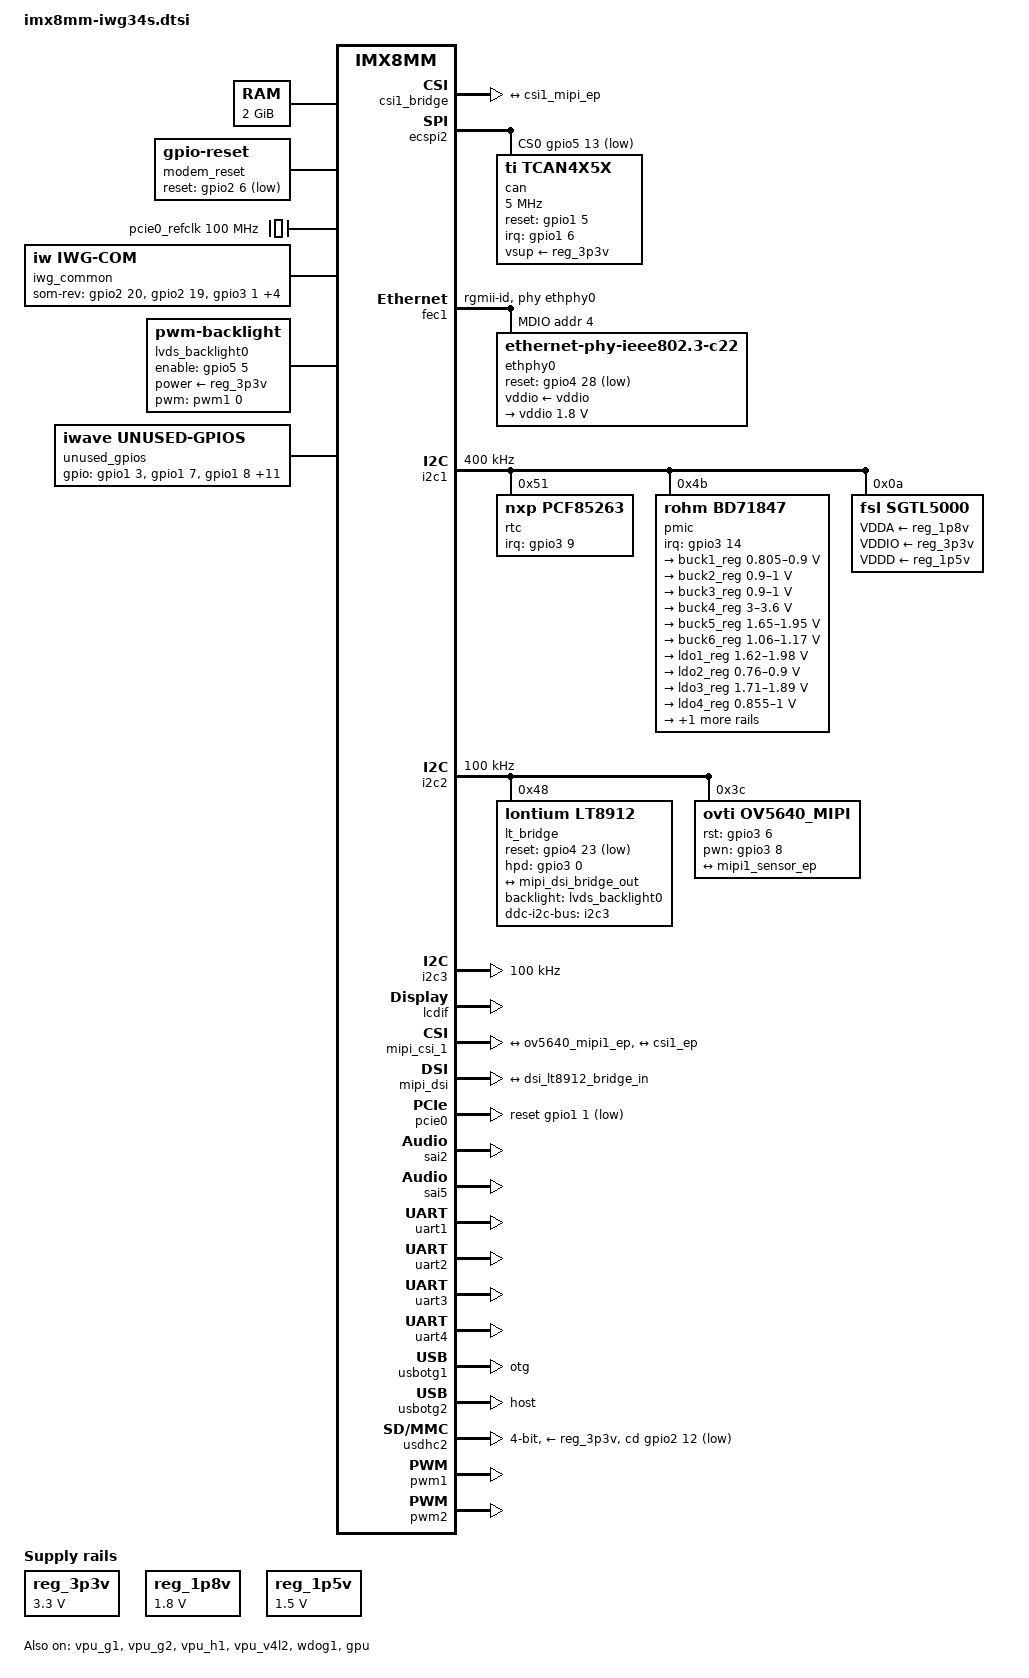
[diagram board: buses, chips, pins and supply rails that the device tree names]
/*
 * Copyright (c) 2022-23 iWave Systems Technologies Pvt. Ltd.
 *
 * This program is free software; you can redistribute it and/or
 * modify it under the terms of the GNU General Public License
 * as published by the Free Software Foundation; either version 2
 * of the License, or (at your option) any later version.
 *
 * This program is distributed in the hope that it will be useful,
 * but WITHOUT ANY WARRANTY; without even the implied warranty of
 * MERCHANTABILITY or FITNESS FOR A PARTICULAR PURPOSE.  See the
 * GNU General Public License for more details.
 */

/dts-v1/;

#include <dt-bindings/usb/pd.h>
#include "imx8mm.dtsi"

/ {
	chosen {
		stdout-path = &uart4;
	};

	memory@40000000 { /* RAM: 2GB Memory support */
		device_type = "memory";
		reg = <0x0 0x40000000 0 0x80000000>;
	};

	modem_reset: modem-reset { /* BT: BT reset */
		compatible = "gpio-reset";
		reset-gpios = <&gpio2 6 GPIO_ACTIVE_LOW>;
		reset-delay-us = <2000>;
		reset-post-delay-ms = <40>;
		#reset-cells = <0>;
	};

	clocks {
		#address-cells = <1>;
		#size-cells = <0>;

		pcie0_refclk: pcie0-refclk {
			compatible = "fixed-clock";
			#clock-cells = <0>;
			clock-frequency = <100000000>;
		};

		hclk: hclock {
			compatible = "fixed-clock";
			#clock-cells = <0>;
			clock-frequency = <40000000>;
			clock-output-names = "hclk";
		};

		cclk: cclock {
			compatible = "fixed-clock";
			#clock-cells = <0>;
			clock-frequency = <40000000>;
			clock-output-names = "cclk";
		};
	};

	sound-hdmi { /* SAI2: HDMI Audio: Audio Codec support */
		compatible = "fsl,hdmi-audio-lt8912";
		model = "hdmi-audio";
		cpu-dai = <&sai2>;
		status = "okay";
	};

	sound { /* SAI5: SGTL5000: Audio Codec support */
		compatible = "simple-audio-card";
		simple-audio-card,name = "sgtl5000";
		simple-audio-card,format = "i2s";
		simple-audio-card,frame-master = <&codecdai>;
		simple-audio-card,bitclock-master = <&codecdai>;
		simple-audio-card,widgets =
			"Microphone", "Microphone Jack",
			"Headphone", "Headphone Jack",
			"Speaker", "Speaker Ext",
			"Line", "Line In Jack";
		simple-audio-card,routing =
			"MIC_IN", "Microphone Jack",
			"Microphone Jack", "Mic Bias",
			"LINE_IN", "Line In Jack",
			"Headphone Jack", "HP_OUT",
			"Speaker Ext", "LINE_OUT";

		simple-audio-card,cpu {
			sound-dai = <&sai5>;
		};

		codecdai: simple-audio-card,codec {
			sound-dai = <&sgtl5000>;
			clocks = <&clk IMX8MM_CLK_SAI5_ROOT>;
		};
	};

	iwg_common { /* SoC Board Setttings : Board Configuration GPIOs */
		compatible = "iw,iwg-com";
		pinctrl-names = "default";
		pcb_rev = <0>;
		bom_rev = <0>;
		carrier_bom = <0>;
		carrier_pcb = <0>;
		pinctrl-0 = <&pinctrl_board_cfg>;
		som-rev-gpios = <&gpio2 20 0 &gpio2 19 0 &gpio3 1 0 &gpio1 0 0 
			       &gpio1 10 0 &gpio1 11 0 &gpio1 9 0 >;
		status = "okay";
	};

	regulators {
		compatible = "simple-bus";
		#address-cells = <1>;
		#size-cells = <0>;

		reg_3p3v: 3p3v { /* Fixed Regulator: common 3.3V Fixed regulator */
			compatible = "regulator-fixed";
			regulator-name = "3P3V";
			regulator-min-microvolt = <3300000>;
			regulator-max-microvolt = <3300000>;
			regulator-always-on;
		};

		reg_1p8v: 1p8v { /* Fixed Regulator: common 1.8V Fixed regulator */
			compatible = "regulator-fixed";
			regulator-name = "1P8V";
			regulator-min-microvolt = <1800000>;
			regulator-max-microvolt = <1800000>;
			regulator-always-on;
		};

		reg_1p5v: 1p5v { /* Fixed Regulator: common 1.5V Fixed regulator */
			compatible = "regulator-fixed";
			regulator-name = "1P5V";
			regulator-min-microvolt = <1500000>;
			regulator-max-microvolt = <1500000>;
			regulator-always-on;
		};
	};

	lvds_backlight0: lvds_backlight { /* LVDS: LVDS Backlight */
		compatible = "pwm-backlight";
		pwms = <&pwm1 0 1000000>;
		power-supply = <&reg_3p3v>;
		pinctrl-names = "default";
		pinctrl-0 = <&pinctrl_pwr>;
		enable-gpios = <&gpio5 5 GPIO_ACTIVE_HIGH>;
		status = "okay";

		brightness-levels = < 0  1  2  3  4  5  6  7  8  9
				     10 11 12 13 14 15 16 17 18 19
				     20 21 22 23 24 25 26 27 28 29
				     30 31 32 33 34 35 36 37 38 39
				     40 41 42 43 44 45 46 47 48 49
				     50 51 52 53 54 55 56 57 58 59
				     60 61 62 63 64 65 66 67 68 69
				     70 71 72 73 74 75 76 77 78 79
				     80 81 82 83 84 85 86 87 88 89
				     90 91 92 93 94 95 96 97 98 99
				    100>;
		default-brightness-level = <100>;
	};

	unused_gpios: unused_gpios { /* GPIO: Setting Unused GPIOs as input pins */
		compatible = "iwave,unused-gpios";
		pinctrl-names = "default";
		pinctrl-0 = <&pinctrl_unused_gpio>;
		status = "okay";
	};
};

&A53_0 {
	cpu-supply = <&buck2_reg>;
};

&A53_1 {
	cpu-supply = <&buck2_reg>;
};

&A53_2 {
	cpu-supply = <&buck2_reg>;
};

&A53_3 {
	cpu-supply = <&buck2_reg>;
};

&csi1_bridge {
	fsl,mipi-mode;
	status = "okay";
	port {
		csi1_ep: endpoint {
			remote-endpoint = <&csi1_mipi_ep>;
		};
	};
};

&ecspi2 { /* ECSPI2 */
	#address-cells = <1>;
	#size-cells = <0>;
	fsl,spi-num-chipselects = <1>;
	pinctrl-names = "default";
	pinctrl-0 = <&pinctrl_ecspi2 &pinctrl_ecspi2_cs>;
	cs-gpios = <&gpio5 13 GPIO_ACTIVE_LOW>;
	status = "okay";

	can: can@0 {
		compatible = "ti,tcan4x5x";
		reg = <0>;
		pinctrl-names = "default";
		pinctrl-0 = <&pinctrl_can>;
		interrupt-parent = <&gpio1>;
		interrupts = <6 IRQ_TYPE_LEVEL_LOW>;
		clocks = <&hclk>, <&cclk>;
		clock-names = "hclk", "cclk";
		#address-cells = <1>;
		#size-cells = <1>;
		spi-max-frequency = <5000000>;
		bosch,mram-cfg = <0x0 0 0 32 0 0 1 1>;
		reset-gpios = <&gpio1 5 GPIO_ACTIVE_HIGH>;
		vsup-supply = <&reg_3p3v>;
	};
};

&fec1 {
	pinctrl-names = "default";
	pinctrl-0 = <&pinctrl_fec1>;
	phy-mode = "rgmii-id";
	phy-handle = <&ethphy0>;
	fsl,magic-packet;
	status = "okay";

	mdio {
		#address-cells = <1>;
		#size-cells = <0>;

		ethphy0: ethernet-phy@4 {
			compatible = "ethernet-phy-ieee802.3-c22";
			reg = <4>;
			reset-gpios = <&gpio4 28 GPIO_ACTIVE_LOW>;
                        qca,disable-smarteee;
                        vddio-supply = <&vddio>;

                        vddio: vddio-regulator {
                                regulator-min-microvolt = <1800000>;
                                regulator-max-microvolt = <1800000>;
                        };
		};
	};
};

&i2c1 { /* I2C1 Bus */
	clock-frequency = <400000>;
	pinctrl-names = "default";
	pinctrl-0 = <&pinctrl_i2c1>;
	status = "okay";

	rtc: rtc@51 { /* RTC: PCF85263 RTC */
		compatible = "nxp,pcf85263";
		pinctrl-names = "default";
		pinctrl-0 = <&pinctrl_rtc>;
		reg = <0x51>;
		interrupt-parent = <&gpio3>;
		interrupts = <9 IRQ_TYPE_LEVEL_LOW>;
		status = "okay";
	};

	pmic: bd71847@4b { /* PMIC: PMIC BD71847MWV */
		compatible = "rohm,bd71847";
		reg = <0x4b>;
		pinctrl-names = "default";
		pinctrl-0 = <&pinctrl_pmic>;
		interrupt-parent = <&gpio3>;
		interrupts = <14 GPIO_ACTIVE_LOW>;
		rohm,reset-snvs-powered;

		#clock-cells = <0>;
		clocks = <&osc_32k 0>;
		clock-output-names = "clk-32k-out";
		status = "okay";
		
		regulators {
			buck1_reg: BUCK1 {
				regulator-name = "BUCK1";
				regulator-min-microvolt = <805000>;
				regulator-max-microvolt = <900000>;
				regulator-boot-on;
				regulator-always-on;
				regulator-ramp-delay = <1250>;
				rohm,dvs-run-voltage = <850000>;
				rohm,dvs-idle-voltage = <850000>;
			};

			buck2_reg: BUCK2 {
				regulator-name = "BUCK2";
				regulator-min-microvolt = <900000>;
				regulator-max-microvolt = <1000000>;
				regulator-boot-on;
				regulator-always-on;
				regulator-ramp-delay = <1250>;
				rohm,dvs-run-voltage = <950000>;
				rohm,dvs-idle-voltage = <950000>;
			};

			buck3_reg: BUCK3 {
				regulator-name = "BUCK3";
				regulator-min-microvolt = <900000>;
				regulator-max-microvolt = <1000000>;
				regulator-boot-on;
				regulator-always-on;
			};

			buck4_reg: BUCK4 {
				regulator-name = "BUCK4";
				regulator-min-microvolt = <3000000>;
				regulator-max-microvolt = <3600000>;
				regulator-boot-on;
				regulator-always-on;
			};

			buck5_reg: BUCK5 {
				regulator-name = "BUCK5";
				regulator-min-microvolt = <1650000>;
				regulator-max-microvolt = <1950000>;
				regulator-boot-on;
				regulator-always-on;
			};

			buck6_reg: BUCK6 {
				regulator-name = "BUCK6";
				regulator-min-microvolt = <1060000>;
				regulator-max-microvolt = <1170000>;
				regulator-boot-on;
				regulator-always-on;
			};

			ldo1_reg: LDO1 {
				regulator-name = "LDO1";
				regulator-min-microvolt = <1620000>;
				regulator-max-microvolt = <1980000>;
				regulator-boot-on;
				regulator-always-on;
			};

			ldo2_reg: LDO2 {
				regulator-name = "LDO2";
				regulator-min-microvolt = <760000>;
				regulator-max-microvolt = <900000>;
				regulator-boot-on;
				regulator-always-on;
			};

			ldo3_reg: LDO3 {
				regulator-name = "LDO3";
				regulator-min-microvolt = <1710000>;
				regulator-max-microvolt = <1890000>;
				regulator-boot-on;
				regulator-always-on;
			};

			ldo4_reg: LDO4 {
				regulator-name = "LDO4";
				regulator-min-microvolt = <855000>;
				regulator-max-microvolt = <1000000>;
				regulator-boot-on;
				regulator-always-on;
			};

			ldo6_reg: LDO6 {
				regulator-name = "LDO6";
				regulator-min-microvolt = <1140000>;
				regulator-max-microvolt = <1260000>;
				regulator-boot-on;
				regulator-always-on;
			};
		};
	};

	sgtl5000: sgtl5000@a { /* Audio: SGTL5000 Audio Codec */
		compatible = "fsl,sgtl5000";
		reg = <0x0a>;
		#sound-dai-cells = <0>;
		clocks = <&clk IMX8MM_CLK_SAI5_ROOT>;
		assigned-clocks = <&clk IMX8MM_CLK_SAI5>;
		assigned-clock-parents = <&clk IMX8MM_AUDIO_PLL1_OUT>;
		assigned-clock-rates = <24576000>;
		VDDA-supply = <&reg_1p8v>;
		VDDIO-supply = <&reg_3p3v>;
		VDDD-supply = <&reg_1p5v>;
		status = "okay";
	};
};

&i2c2 { /* I2C2 Bus */
	clock-frequency = <100000>; /* Since Display bridge is connected in this i2c bus, it's max i2c speed is 100KHz */
	pinctrl-names = "default";
	pinctrl-0 = <&pinctrl_i2c2>;
	status = "okay";

	lt_bridge: lt8912@48 { /* LT8912: MIPI-DSI to HDMI/LVDS Bridge */
		compatible = "lontium,lt8912";
		reg = <0x48>;
		pinctrl-names = "default";
		pinctrl-0 = <&pinctrl_lt8912>;
		ddc-i2c-bus = <&i2c3>;
		reset-gpios = <&gpio4 23 GPIO_ACTIVE_LOW>;
		hpd-gpios = <&gpio3 0 GPIO_ACTIVE_HIGH>;
		digi,dsi-lanes = <4>;
		backlight = <&lvds_backlight0>;

		status = "okay";

	display-timings {
		native-mode = <&timing0>;
		timing0: timing0 {
			clock-frequency = <70000000>;
			hactive = <1280>;
			vactive = <800>;
			hback-porch = <70>;
			hfront-porch = <70>;
			vback-porch = <8>;
			vfront-porch = <8>;
			hsync-len = <20>;
			vsync-len = <7>;
			hsync-active = <0>;
			vsync-active = <0>;
			de-active = <0>;
			pixelclk-active = <0>;
		};
	};

	port {
		dsi_lt8912_bridge_in: endpoint {
			remote-endpoint = <&mipi_dsi_bridge_out>;
			};
		};
	};

	ov5640_mipi: ov5640_mipi@3c { /* MIPI CSI: OV5640 Camera */
		compatible = "ovti,ov5640_mipi";
		reg = <0x3c>;
		status = "okay";
		pinctrl-names = "default";
		pinctrl-0 = <&pinctrl_csi_rst>;
		clocks = <&clk IMX8MM_CLK_CLKO1>;
		clock-names = "csi_mclk";
		assigned-clocks = <&clk IMX8MM_CLK_CLKO1>;
		assigned-clock-parents = <&clk IMX8MM_CLK_24M>;
		assigned-clock-rates = <24000000>;
		csi_id = <0>;
		rst-gpios = <&gpio3 6 GPIO_ACTIVE_HIGH>;
		pwn-gpios = <&gpio3 8 GPIO_ACTIVE_HIGH>;
		mclk = <24000000>;
		mclk_source = <0>;
		port {
			ov5640_mipi1_ep: endpoint {
				remote-endpoint = <&mipi1_sensor_ep>;
			};
		};
	};
};

&i2c3 { /* I2C3 Bus */
	clock-frequency = <100000>; /* Since HDMI DDC is connected to this i2c bus, it's max i2c speed is 100KHz */
	pinctrl-names = "default";
	pinctrl-0 = <&pinctrl_i2c3>;
	status = "okay";
};

&lcdif {
       status = "okay";
};

&mipi_csi_1 { /* MIPI CSI: OV5640 MIPI Camera */
	#address-cells = <1>;
	#size-cells = <0>;
	status = "okay";
	port {
		mipi1_sensor_ep: endpoint@1 {
			remote-endpoint = <&ov5640_mipi1_ep>;
			data-lanes = <2>;
			csis-hs-settle = <13>;
			csis-clk-settle = <2>;
			csis-wclk;
		};

		csi1_mipi_ep: endpoint@2 {
			remote-endpoint = <&csi1_ep>;
		};
	};
};

&mipi_dsi { /* MIPI DSI: HDMI/LVDS Display */
	status = "okay";

	port@1 {
		mipi_dsi_bridge_out: endpoint {
			remote-endpoint = <&dsi_lt8912_bridge_in>;
			attach-bridge;
		};
	};
};

&pcie0{ /* PCIE: PCIe0 */
	pinctrl-names = "default";
	pinctrl-0 = <&pinctrl_pcie0>;
	reset-gpio = <&gpio1 1 GPIO_ACTIVE_LOW>;
	clocks = <&clk IMX8MM_CLK_PCIE1_ROOT>,
		 <&clk IMX8MM_CLK_PCIE1_AUX>,
		 <&clk IMX8MM_CLK_PCIE1_PHY>,
		 <&pcie0_refclk>;
	clock-names = "pcie", "pcie_aux", "pcie_phy", "pcie_bus";
	assigned-clocks = <&clk IMX8MM_CLK_PCIE1_AUX>,
			  <&clk IMX8MM_CLK_PCIE1_PHY>,
			  <&clk IMX8MM_CLK_PCIE1_CTRL>;
	assigned-clock-rates = <10000000>, <100000000>, <250000000>;
	assigned-clock-parents = <&clk IMX8MM_SYS_PLL2_50M>,
				 <&clk IMX8MM_SYS_PLL2_100M>,
				 <&clk IMX8MM_SYS_PLL2_250M>;
	ext_osc = <0>;
	status = "okay";
};

&sai2 { /* SAI2: Serial Audio Interface for Audio Codec */
	pinctrl-names = "default";
	pinctrl-0 = <&pinctrl_sai2>;
	assigned-clocks = <&clk IMX8MM_CLK_SAI2>;
	assigned-clock-rates = <49152000>;
	assigned-clock-parents = <&clk IMX8MM_AUDIO_PLL1_OUT>;
	clocks = <&clk IMX8MM_CLK_SAI2_IPG>, <&clk IMX8MM_CLK_DUMMY>,
		<&clk IMX8MM_CLK_SAI2_ROOT>, <&clk IMX8MM_CLK_DUMMY>,
		<&clk IMX8MM_CLK_DUMMY>, <&clk IMX8MM_AUDIO_PLL1_OUT>,
		<&clk IMX8MM_AUDIO_PLL2_OUT>;
	clock-names = "bus", "mclk0", "mclk1", "mclk2", "mclk3", "pll8k", "pll11k";
	fsl,sai-asynchronous;
	status = "okay";
};

&sai5 { /* SAI5: Serial Audio Interface for Audio Codec */
	#sound-dai-cells = <0>;
	pinctrl-names = "default";
	pinctrl-0 = <&pinctrl_sai5>;
	assigned-clocks = <&clk IMX8MM_CLK_SAI5>;
	assigned-clock-parents = <&clk IMX8MM_AUDIO_PLL1_OUT>;
	assigned-clock-rates = <49152000>;
	clocks = <&clk IMX8MM_CLK_SAI5_IPG>, <&clk IMX8MM_CLK_DUMMY>,
		<&clk IMX8MM_CLK_SAI5_ROOT>, <&clk IMX8MM_CLK_DUMMY>,
		<&clk IMX8MM_CLK_DUMMY>, <&clk IMX8MM_AUDIO_PLL1_OUT>,
		<&clk IMX8MM_AUDIO_PLL2_OUT>;
	clock-names = "bus", "mclk0", "mclk1", "mclk2", "mclk3", "pll8k", "pll11k";
        fsl,sai-multi-lane;
        dmas = <&sdma2 8 25 0>, <&sdma2 9 25 0>;
	status = "okay";
};

&uart1 { /* UART1: BT */
	pinctrl-names = "default";
	pinctrl-0 = <&pinctrl_uart1>;
	assigned-clocks = <&clk IMX8MM_CLK_UART1>;
	assigned-clock-parents = <&clk IMX8MM_SYS_PLL1_80M>;
	fsl,uart-has-rtscts;
	resets = <&modem_reset>;
	status = "okay";
};

&uart2 { /* UART2: Data UART */
	pinctrl-names = "default";
	pinctrl-0 = <&pinctrl_uart2>;
	fsl,uart-has-rtscts;
	status = "okay";
};

&uart3 { /* UART3: GNSS */
	pinctrl-names = "default";
	pinctrl-0 = <&pinctrl_uart3>;
	assigned-clocks = <&clk IMX8MM_CLK_UART3>;
	assigned-clock-parents = <&clk IMX8MM_SYS_PLL1_80M>;
	status = "okay";
};

&uart4 { /* UART4: console */
	pinctrl-names = "default";
	pinctrl-0 = <&pinctrl_uart4>;
	status = "okay";
};

&usbotg1 { /* USB1: USB OTG */
	dr_mode = "otg";
	status = "okay";
};

&usbotg2 { /* USB2: USB Host (2 ports via HUB) */
	dr_mode = "host";
	disable-over-current;
	status = "okay";
};

&usdhc2 { /* Micro SD */
	assigned-clocks = <&clk IMX8MM_CLK_USDHC2>;
	assigned-clock-rates = <200000000>;
	pinctrl-names = "default", "state_100mhz", "state_200mhz";
	pinctrl-0 = <&pinctrl_usdhc2>, <&pinctrl_usdhc2_gpio>;
	pinctrl-1 = <&pinctrl_usdhc2_100mhz>, <&pinctrl_usdhc2_gpio>;
	pinctrl-2 = <&pinctrl_usdhc2_200mhz>, <&pinctrl_usdhc2_gpio>;
	cd-gpios = <&gpio2 12 GPIO_ACTIVE_LOW>;
	bus-width = <4>;
	vmmc-supply = <&reg_3p3v>;
	status = "okay";
};

&vpu_g1 {
	status = "okay";
};

&vpu_g2 {
	status = "okay";
};

&vpu_h1 {
	status = "okay";
};

&vpu_v4l2 {
	status = "okay";
};

&wdog1 { /* Watchdog */
	pinctrl-names = "default";
	pinctrl-0 = <&pinctrl_wdog>;
	fsl,ext-reset-output;
	status = "okay";
};

&pwm1 { /* PWM */
	pinctrl-names = "default";
	pinctrl-0 = <&pinctrl_pwm>;
	status = "okay";
};

&pwm2 { /* PWM */
	pinctrl-names = "default";
	pinctrl-0 = <&pinctrl_pwm2>;
	status = "okay";
};

&gpu { /* GPU */
	status = "okay";
};

&unused_gpios { /* GPIO: iWave Unused GPIO pins */
	gpios = <&gpio1 3 0>,
		<&gpio1 7 0>,
		<&gpio1 8 0>,
		<&gpio1 12 0>,
		<&gpio1 13 0>,
		<&gpio1 14 0>,
		<&gpio2 11 0>,
		<&gpio3 7 0>,
		<&gpio4 21 0>,
		<&gpio4 22 0>,
		<&gpio5 3 0>,
		<&gpio5 8 0>,
		<&gpio5 24 0>,
		<&gpio5 25 0>;
};

&iomuxc {
	pinctrl-names = "default";
	pinctrl-0 = <&pinctrl_expansion>;

	imx8mm-iwg34s {

		pinctrl_lt8912: lt8912grp { /* LT8912 Bridge: IOMUX Pin Configuration */
			fsl,pins = <
				MX8MM_IOMUXC_NAND_ALE_GPIO3_IO0			0x19 /* Interrupt GPIO */
				MX8MM_IOMUXC_SAI2_RXD0_GPIO4_IO23		0x19 /* Reset GPIO */
			>;
		};

		pinctrl_pwm: pwm { /* LVDS Backlight PWM: IOMUX Pin Configuration */
			fsl,pins = <
				MX8MM_IOMUXC_I2C4_SDA_PWM1_OUT			0x19
			>;
		};

                pinctrl_pwm2: pwm2 { /* PWM-2: IOMUX Pin Configuration */
                        fsl,pins = <
                                MX8MM_IOMUXC_I2C4_SCL_PWM2_OUT                  0x19 /* Expansion connector Pin 32 */
                        >;
                };

		pinctrl_csi_rst: csi_rst_grp { /* MIPI CSI: OV5640 Camera IOMUX Pin Configuration */
			fsl,pins = <
				MX8MM_IOMUXC_NAND_DATA00_GPIO3_IO6		0x19 /* MIPI OV5640 Camera Reset GPIO */
				MX8MM_IOMUXC_NAND_DATA02_GPIO3_IO8		0x19 /* MIPI OV5640 Camera Reset GPIO */
			>;
		};

		pinctrl_ecspi2: ecspi2grp { /* ECSPI2: CAN IOMUX Pin Configuration */
			fsl,pins = <
				MX8MM_IOMUXC_ECSPI2_SCLK_ECSPI2_SCLK		0x82
				MX8MM_IOMUXC_ECSPI2_MOSI_ECSPI2_MOSI		0x82
				MX8MM_IOMUXC_ECSPI2_MISO_ECSPI2_MISO		0x82
			>;
		};

		pinctrl_ecspi2_cs: ecspi2cs {
			fsl,pins = <
				MX8MM_IOMUXC_ECSPI2_SS0_GPIO5_IO13		0x40000 /* ECSPI2 Chip select GPIO*/
			>;
		};

		pinctrl_fec1: fec1grp { /* Ethernet: IOMUX Pin Configuration */
			fsl,pins = <
				MX8MM_IOMUXC_ENET_MDC_ENET1_MDC			0x3
				MX8MM_IOMUXC_ENET_MDIO_ENET1_MDIO		0x3
				MX8MM_IOMUXC_ENET_TD3_ENET1_RGMII_TD3		0x1f
				MX8MM_IOMUXC_ENET_TD2_ENET1_RGMII_TD2		0x1f
				MX8MM_IOMUXC_ENET_TD1_ENET1_RGMII_TD1		0x1f
				MX8MM_IOMUXC_ENET_TD0_ENET1_RGMII_TD0		0x1f
				MX8MM_IOMUXC_ENET_RD3_ENET1_RGMII_RD3		0x91
				MX8MM_IOMUXC_ENET_RD2_ENET1_RGMII_RD2		0x91
				MX8MM_IOMUXC_ENET_RD1_ENET1_RGMII_RD1		0x91
				MX8MM_IOMUXC_ENET_RD0_ENET1_RGMII_RD0		0x91
				MX8MM_IOMUXC_ENET_TXC_ENET1_RGMII_TXC		0x1f
				MX8MM_IOMUXC_ENET_RXC_ENET1_RGMII_RXC		0x91
				MX8MM_IOMUXC_ENET_RX_CTL_ENET1_RGMII_RX_CTL	0x91
				MX8MM_IOMUXC_ENET_TX_CTL_ENET1_RGMII_TX_CTL	0x1f
				MX8MM_IOMUXC_SAI3_RXFS_GPIO4_IO28		0x19 /* Ethernet Reset GPIO */
				MX8MM_IOMUXC_SAI5_RXC_GPIO3_IO20		0x19 /* Ethernet Wake on LAN */
				MX8MM_IOMUXC_SAI5_RXFS_GPIO3_IO19		0x19 /* Ethernet Interrupt */
			>;
		};

		pinctrl_i2c1: i2c1grp { /* I2C1: IOMUX Pin Configuration */
			fsl,pins = <
				MX8MM_IOMUXC_I2C1_SCL_I2C1_SCL			0x400001c3
				MX8MM_IOMUXC_I2C1_SDA_I2C1_SDA			0x400001c3
			>;
		};

		pinctrl_i2c2: i2c2grp { /* I2C2: IOMUX Pin Configuration */
			fsl,pins = <
				MX8MM_IOMUXC_I2C2_SCL_I2C2_SCL			0x400001c3
				MX8MM_IOMUXC_I2C2_SDA_I2C2_SDA			0x400001c3
			>;
		};

		pinctrl_i2c3: i2c3grp { /* I2C3: IOMUX Pin Configuration */
			fsl,pins = <
				MX8MM_IOMUXC_I2C3_SCL_I2C3_SCL			0x400001c3
				MX8MM_IOMUXC_I2C3_SDA_I2C3_SDA			0x400001c3
			>;
		};

		pinctrl_pcie0: pcie0grp { /* PCIe1: IOMUX Pin Configuration */
			fsl,pins = <
				MX8MM_IOMUXC_GPIO1_IO01_GPIO1_IO1		0x41 /* Reset GPIO */
			>;
		};

		pinctrl_can: cangrp { /* CAN: IOMUX Pin Configuration */
			fsl,pins = <
				MX8MM_IOMUXC_GPIO1_IO05_GPIO1_IO5               0x41 /* CAN Interrupt GPIO */
				MX8MM_IOMUXC_GPIO1_IO06_GPIO1_IO6               0x41 /* CAN Reset GPIO */
			>;
		};

		pinctrl_pmic: pmicirqgrp { /* PMIC: IOMUX Pin Configuration */
			fsl,pins = <
				MX8MM_IOMUXC_NAND_DQS_GPIO3_IO14		0x141 /* PMIC Interrupt GPIO */
			>;
		};

		pinctrl_rtc: rtcirq { /* RTC: IOMUX Pin Configuration */
			fsl,pins = <
				MX8MM_IOMUXC_NAND_DATA03_GPIO3_IO9		0x41 /* RTC Interrupt GPIO */
			>;
		};

		pinctrl_sai2: sai2grp { /* SAI2: IOMUX Pin Configuration */
			fsl,pins = <
				MX8MM_IOMUXC_SAI2_TXC_SAI2_TX_BCLK      0xd6
				MX8MM_IOMUXC_SAI2_TXFS_SAI2_TX_SYNC     0xd6
				MX8MM_IOMUXC_SAI2_TXD0_SAI2_TX_DATA0    0xd6
			>;
		};

		pinctrl_sai5: sai5grp { /* SAI5: IOMUX Pin Configuration */
			fsl,pins = <
				MX8MM_IOMUXC_SAI5_RXD2_SAI5_TX_BCLK	0xd6
				MX8MM_IOMUXC_SAI5_RXD1_SAI5_TX_SYNC	0xd6
				MX8MM_IOMUXC_SAI5_RXD3_SAI5_TX_DATA0	0xd6
				MX8MM_IOMUXC_SAI5_RXD0_SAI5_RX_DATA0	0xd6
				MX8MM_IOMUXC_SAI5_MCLK_SAI5_MCLK	0xd6
			>;
		};

		pinctrl_uart1: uart1grp { /* UART1: Bluetooth: IOMUX Pin Configuration */
			fsl,pins = <
				MX8MM_IOMUXC_UART1_RXD_UART1_DCE_RX     0x140
				MX8MM_IOMUXC_UART1_TXD_UART1_DCE_TX     0x140
				MX8MM_IOMUXC_UART3_RXD_UART1_DCE_CTS_B  0x140
				MX8MM_IOMUXC_UART3_TXD_UART1_DCE_RTS_B  0x140
				MX8MM_IOMUXC_SD1_DATA4_GPIO2_IO6	0x19 /* Bluetooth Reset GPIO */
				MX8MM_IOMUXC_SD1_DATA5_GPIO2_IO7	0x19 /* Bluetooth Device Wake GPIO */
				MX8MM_IOMUXC_SD1_DATA6_GPIO2_IO8	0x19 /* Bluetooth Host Wake GPIO */
			>;
		};

		pinctrl_uart2: uart2grp { /* UART2: DATA UART: IOMUX Pin Configuration */
			fsl,pins = <
				MX8MM_IOMUXC_SAI3_TXC_UART2_DCE_TX	0x140
				MX8MM_IOMUXC_SAI3_TXFS_UART2_DCE_RX	0x140
				MX8MM_IOMUXC_SAI3_RXC_UART2_DCE_CTS_B	0x140
				MX8MM_IOMUXC_SAI3_RXD_UART2_DCE_RTS_B	0x140
			>;
		};

		pinctrl_uart3: uart3grp { /* UART3: GNSS: IOMUX Pin Configuration */
			fsl,pins = <
				MX8MM_IOMUXC_ECSPI1_MOSI_UART3_DCE_TX	0x140 /* Expansion connector Pin 18 (optionally used for GNSS ) */
				MX8MM_IOMUXC_ECSPI1_SCLK_UART3_DCE_RX	0x140 /* Expansion connector Pin 16 (optionally used for GNSS ) */
				MX8MM_IOMUXC_ECSPI1_SS0_UART3_DCE_RTS_B	0x140 /* Expansion connector Pin 36 (optionally used for GNSS ) */
			>;
		};

		pinctrl_uart4: uart4grp { /* UART4: Debug UART: IOMUX Pin Configuration */
			fsl,pins = <
				MX8MM_IOMUXC_UART4_RXD_UART4_DCE_RX	0x140
				MX8MM_IOMUXC_UART4_TXD_UART4_DCE_TX	0x140
			>;
		};

		pinctrl_usdhc1_gpio: usdhc1grpgpio { /* USDHC1: WiFi: IOMUX Pin Configuration */
			fsl,pins = <
				MX8MM_IOMUXC_SD1_RESET_B_GPIO2_IO10	0x41 /* WIFI Reset GPIO */
			>;
		};

		pinctrl_usdhc1: usdhc1grp { /* USDHC1: WiFi: IOMUX Pin Configuration */
			fsl,pins = <
				MX8MM_IOMUXC_SD1_CLK_USDHC1_CLK		0x190
				MX8MM_IOMUXC_SD1_CMD_USDHC1_CMD		0x1d0
				MX8MM_IOMUXC_SD1_DATA0_USDHC1_DATA0	0x1d0
				MX8MM_IOMUXC_SD1_DATA1_USDHC1_DATA1	0x1d0
				MX8MM_IOMUXC_SD1_DATA2_USDHC1_DATA2	0x1d0
				MX8MM_IOMUXC_SD1_DATA3_USDHC1_DATA3	0x1d0
			>;
		};

		pinctrl_usdhc1_100mhz: usdhc1grp100mhz {
			fsl,pins = <
				MX8MM_IOMUXC_SD1_CLK_USDHC1_CLK		0x194
				MX8MM_IOMUXC_SD1_CMD_USDHC1_CMD		0x1d4
				MX8MM_IOMUXC_SD1_DATA0_USDHC1_DATA0	0x1d4
				MX8MM_IOMUXC_SD1_DATA1_USDHC1_DATA1	0x1d4
				MX8MM_IOMUXC_SD1_DATA2_USDHC1_DATA2	0x1d4
				MX8MM_IOMUXC_SD1_DATA3_USDHC1_DATA3	0x1d4
			>;
		};

		pinctrl_usdhc1_200mhz: usdhc1grp200mhz {
			fsl,pins = <
				MX8MM_IOMUXC_SD1_CLK_USDHC1_CLK		0x196
				MX8MM_IOMUXC_SD1_CMD_USDHC1_CMD		0x1d6
				MX8MM_IOMUXC_SD1_DATA0_USDHC1_DATA0	0x1d6
				MX8MM_IOMUXC_SD1_DATA1_USDHC1_DATA1	0x1d6
				MX8MM_IOMUXC_SD1_DATA2_USDHC1_DATA2	0x1d6
				MX8MM_IOMUXC_SD1_DATA3_USDHC1_DATA3	0x1d6
			>;
		};

		pinctrl_usdhc2_gpio: usdhc2grpgpiogrp {
			fsl,pins = <
				MX8MM_IOMUXC_SD2_CD_B_GPIO2_IO12	0x1c4
			>;
		};

		pinctrl_usdhc2: usdhc2grp { /* USDHC2: Micro SD: IOMUX Pin Configuration */
			fsl,pins = <
				MX8MM_IOMUXC_SD2_CLK_USDHC2_CLK		0x190
				MX8MM_IOMUXC_SD2_CMD_USDHC2_CMD		0x1d0
				MX8MM_IOMUXC_SD2_DATA0_USDHC2_DATA0	0x1d0
				MX8MM_IOMUXC_SD2_DATA1_USDHC2_DATA1	0x1d0
				MX8MM_IOMUXC_SD2_DATA2_USDHC2_DATA2	0x1d0
				MX8MM_IOMUXC_SD2_DATA3_USDHC2_DATA3	0x1d0
				MX8MM_IOMUXC_GPIO1_IO04_USDHC2_VSELECT	0x1d0
			>;
		};

		pinctrl_usdhc2_100mhz: usdhc2-100mhzgrp {
			fsl,pins = <
				MX8MM_IOMUXC_SD2_CLK_USDHC2_CLK		0x194
				MX8MM_IOMUXC_SD2_CMD_USDHC2_CMD		0x1d4
				MX8MM_IOMUXC_SD2_DATA0_USDHC2_DATA0	0x1d4
				MX8MM_IOMUXC_SD2_DATA1_USDHC2_DATA1	0x1d4
				MX8MM_IOMUXC_SD2_DATA2_USDHC2_DATA2	0x1d4
				MX8MM_IOMUXC_SD2_DATA3_USDHC2_DATA3	0x1d4
				MX8MM_IOMUXC_GPIO1_IO04_USDHC2_VSELECT	0x1d0
			>;
		};

		pinctrl_usdhc2_200mhz: usdhc2-200mhzgrp {
			fsl,pins = <
				MX8MM_IOMUXC_SD2_CLK_USDHC2_CLK		0x196
				MX8MM_IOMUXC_SD2_CMD_USDHC2_CMD		0x1d6
				MX8MM_IOMUXC_SD2_DATA0_USDHC2_DATA0	0x1d6
				MX8MM_IOMUXC_SD2_DATA1_USDHC2_DATA1	0x1d6
				MX8MM_IOMUXC_SD2_DATA2_USDHC2_DATA2	0x1d6
				MX8MM_IOMUXC_SD2_DATA3_USDHC2_DATA3	0x1d6
				MX8MM_IOMUXC_GPIO1_IO04_USDHC2_VSELECT	0x1d0
			>;
		};

		pinctrl_board_cfg: brd_cfg { /* SoC Board Settings: IOMUX Pin Configuration */
			fsl,pins = <
				MX8MM_IOMUXC_SD2_WP_GPIO2_IO20		0x1d5
				MX8MM_IOMUXC_SD2_RESET_B_GPIO2_IO19     0x1d5
				MX8MM_IOMUXC_NAND_CE0_B_GPIO3_IO1	0x1d5
				MX8MM_IOMUXC_GPIO1_IO00_GPIO1_IO0       0x1d5
				MX8MM_IOMUXC_GPIO1_IO10_GPIO1_IO10      0x1d5
				MX8MM_IOMUXC_GPIO1_IO11_GPIO1_IO11      0x1d5
				MX8MM_IOMUXC_GPIO1_IO09_GPIO1_IO9       0x1d5
			>;
		};

		pinctrl_wdog: wdoggrp { /* wdog0: IOMUX Pin Configuration */
			fsl,pins = <
				MX8MM_IOMUXC_GPIO1_IO02_WDOG1_WDOG_B	0x166
			>;
		};

		pinctrl_pwr:pwr { /* LVDS Backlight IOMUX Pin Configuration */
			fsl,pins = <
				MX8MM_IOMUXC_SPDIF_EXT_CLK_GPIO5_IO5	0x140
			>; 
		};

		pinctrl_unused_gpio: unused_gpiogrp{ /* Unused GPIO IOMUX Pin Configuration */
			fsl,pins = <
				/* GPIO: Unused GPIO IOMUX Pin Configuration */
				MX8MM_IOMUXC_GPIO1_IO03_GPIO1_IO3       0x41
				MX8MM_IOMUXC_GPIO1_IO07_GPIO1_IO7       0x41
				MX8MM_IOMUXC_GPIO1_IO08_GPIO1_IO8       0x41
				MX8MM_IOMUXC_GPIO1_IO12_GPIO1_IO12      0x140 /* Unused GPIO (optionally used as GNSS Time pulse GPIO) */
				MX8MM_IOMUXC_GPIO1_IO13_GPIO1_IO13      0x41
				MX8MM_IOMUXC_GPIO1_IO14_GPIO1_IO14      0x140 /* Unused GPIO (optionally used as GNSS Reset GPIO) */
				MX8MM_IOMUXC_SD1_STROBE_GPIO2_IO11      0x41
				MX8MM_IOMUXC_NAND_DATA01_GPIO3_IO7      0x41
				MX8MM_IOMUXC_SAI2_RXFS_GPIO4_IO21       0x41
				MX8MM_IOMUXC_SAI2_RXC_GPIO4_IO22        0x41
				MX8MM_IOMUXC_SPDIF_TX_GPIO5_IO3         0x41
				MX8MM_IOMUXC_ECSPI1_MISO_GPIO5_IO8      0x146
				MX8MM_IOMUXC_UART2_RXD_GPIO5_IO24       0x41
				MX8MM_IOMUXC_UART2_TXD_GPIO5_IO25       0x41
			>;
		};

		pinctrl_expansion: expansiongrp { /* Expansion connector IOMUX configuration */
			fsl,pins = <
				/* SAI1 TX, RX and I2S signals */
				MX8MM_IOMUXC_SAI1_TXD4_SAI6_TX_BCLK		0xd6	/* Expansion Pin 38 */
				MX8MM_IOMUXC_SAI1_TXD6_SAI6_TX_SYNC		0xd6	/* Expansion Pin 40 */
				MX8MM_IOMUXC_SAI1_TXD5_SAI6_TX_DATA0		0xd6	/* Expansion Pin 35 */
				MX8MM_IOMUXC_SAI1_RXD5_SAI6_RX_DATA0		0xd6	/* Expansion Pin 12 */

				/* GPIOs */
				MX8MM_IOMUXC_GPIO1_IO15_GPIO1_IO15      0x41    /* Expansion Pin 37 */
				MX8MM_IOMUXC_SAI1_RXFS_GPIO4_IO0        0x41    /* Expansion Pin 15 */
				MX8MM_IOMUXC_SAI1_RXC_GPIO4_IO1         0x41    /* Expansion Pin 31 */
				MX8MM_IOMUXC_SAI1_MCLK_GPIO4_IO20       0x41    /* Expansion Pin 22 */
				MX8MM_IOMUXC_SAI2_MCLK_GPIO4_IO27       0x41    /* Expansion Pin 33 */
				MX8MM_IOMUXC_SAI3_TXD_GPIO5_IO1         0x41    /* Expansion Pin 07 */
				MX8MM_IOMUXC_SPDIF_RX_GPIO5_IO4         0x41    /* Expansion Pin 29 */
			>;
		};
	};
};
